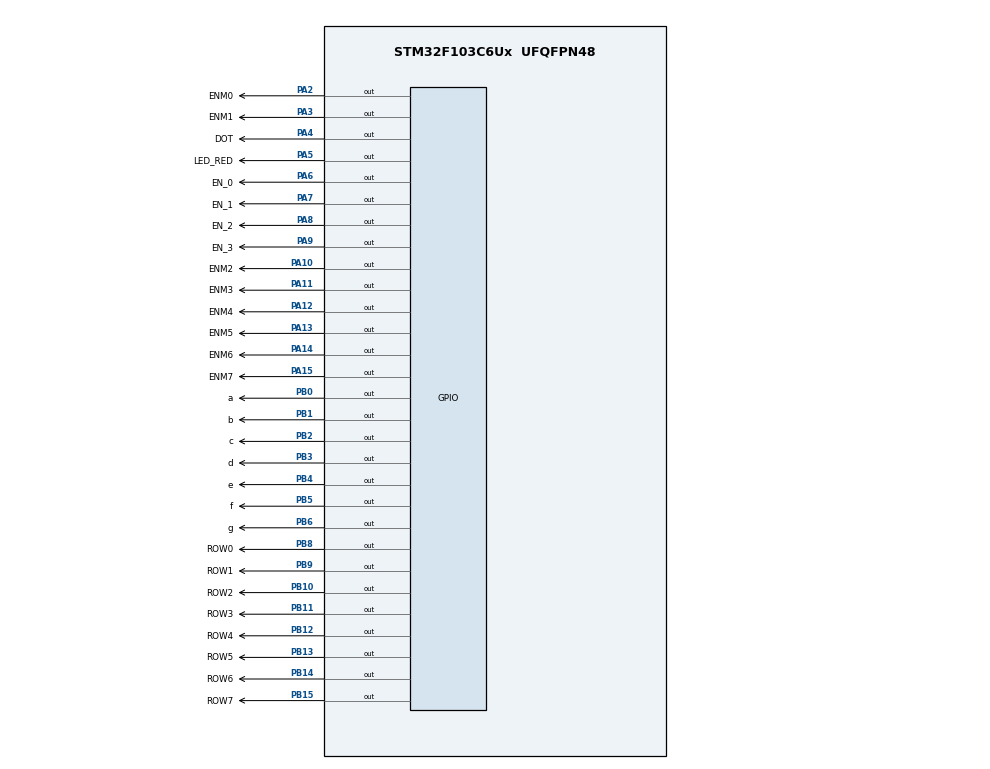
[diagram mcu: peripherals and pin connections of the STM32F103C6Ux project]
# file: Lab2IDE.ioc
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Mcu.Family=STM32F1
Mcu.Name=STM32F103C6Ux
Mcu.Package=UFQFPN48
NVIC.PriorityGroup=NVIC_PRIORITYGROUP_4
NVIC.TIM2_IRQn=true\:0\:0\:false\:false\:true\:true\:true
PA10.GPIO_Label=ENM2
PA10.Signal=GPIO_Output
PA11.GPIO_Label=ENM3
PA11.Signal=GPIO_Output
PA12.GPIO_Label=ENM4
PA12.Signal=GPIO_Output
PA13.GPIO_Label=ENM5
PA13.Signal=GPIO_Output
PA14.GPIO_Label=ENM6
PA14.Signal=GPIO_Output
PA15.GPIO_Label=ENM7
PA15.Signal=GPIO_Output
PA2.GPIO_Label=ENM0
PA2.Signal=GPIO_Output
PA3.GPIO_Label=ENM1
PA3.Signal=GPIO_Output
PA4.GPIO_Label=DOT
PA4.Signal=GPIO_Output
PA5.GPIO_Label=LED_RED
PA5.Signal=GPIO_Output
PA6.GPIO_Label=EN_0
PA6.Signal=GPIO_Output
PA7.GPIO_Label=EN_1
PA7.Signal=GPIO_Output
PA8.GPIO_Label=EN_2
PA8.Signal=GPIO_Output
PA9.GPIO_Label=EN_3
PA9.Signal=GPIO_Output
PB0.GPIO_Label=a
PB0.Signal=GPIO_Output
PB1.GPIO_Label=b
PB1.Signal=GPIO_Output
PB10.GPIO_Label=ROW2
PB10.Signal=GPIO_Output
PB11.GPIO_Label=ROW3
PB11.Signal=GPIO_Output
PB12.GPIO_Label=ROW4
PB12.Signal=GPIO_Output
PB13.GPIO_Label=ROW5
PB13.Signal=GPIO_Output
PB14.GPIO_Label=ROW6
PB14.Signal=GPIO_Output
PB15.GPIO_Label=ROW7
PB15.Signal=GPIO_Output
PB2.GPIO_Label=c
PB2.Signal=GPIO_Output
PB3.GPIO_Label=d
PB3.Signal=GPIO_Output
PB4.GPIO_Label=e
PB4.Signal=GPIO_Output
PB5.GPIO_Label=f
PB5.Signal=GPIO_Output
PB6.GPIO_Label=g
PB6.Signal=GPIO_Output
PB8.GPIO_Label=ROW0
PB8.Signal=GPIO_Output
PB9.GPIO_Label=ROW1
PB9.Signal=GPIO_Output
ProjectManager.HeapSize=0x200
ProjectManager.StackSize=0x400
ProjectManager.TargetToolchain=STM32CubeIDE
RCC.APB1Freq_Value=8000000
RCC.APB2Freq_Value=8000000
TIM2.Period=8
TIM2.Prescaler=8000
VP_SYS_VS_ND.Mode=No_Debug
VP_TIM2_VS_ClockSourceINT.Mode=Internal
board=custom

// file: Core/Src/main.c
/* USER CODE BEGIN Header */
/**
  ******************************************************************************
  * @file           : main.c
  * @brief          : Main program body
  ******************************************************************************
  * @attention
  *
  * <h2><center>&copy; Copyright (c) 2022 STMicroelectronics.
  * All rights reserved.</center></h2>
  *
  * This software component is licensed by ST under BSD 3-Clause license,
  * the "License"; You may not use this file except in compliance with the
  * License. You may obtain a copy of the License at:
  *                        opensource.org/licenses/BSD-3-Clause
  *
  ******************************************************************************
  */
/* USER CODE END Header */
#include "main.h"

/* USER CODE BEGIN Includes */
#include "softwareTimer.h"
/* USER CODE END Includes */

TIM_HandleTypeDef htim2;

void SystemClock_Config(void);
static void MX_GPIO_Init(void);
static void MX_TIM2_Init(void);

/* USER CODE BEGIN 0 */
void display7SEG(int num){
	if(num == 1){
		HAL_GPIO_WritePin(GPIOB, 0x06, GPIO_PIN_RESET);
		HAL_GPIO_WritePin(GPIOB, 0x79, GPIO_PIN_SET);
	}
	else if(num == 2){
		HAL_GPIO_WritePin(GPIOB, 0x5B, GPIO_PIN_RESET);
		HAL_GPIO_WritePin(GPIOB, 0x24, GPIO_PIN_SET);
	}
	else if(num == 3){
		HAL_GPIO_WritePin(GPIOB, 0x4F, GPIO_PIN_RESET);
		HAL_GPIO_WritePin(GPIOB, 0x30, GPIO_PIN_SET);
	}
	else if(num == 4){
		HAL_GPIO_WritePin(GPIOB, 0x66, GPIO_PIN_RESET);
		HAL_GPIO_WritePin(GPIOB, 0x19, GPIO_PIN_SET);
	}
	else if(num == 5){
		HAL_GPIO_WritePin(GPIOB, 0x6D, GPIO_PIN_RESET);
		HAL_GPIO_WritePin(GPIOB, 0x12, GPIO_PIN_SET);
	}
	else if(num == 6){
		HAL_GPIO_WritePin(GPIOB, 0x7D, GPIO_PIN_RESET);
		HAL_GPIO_WritePin(GPIOB, 0x02, GPIO_PIN_SET);
	}
	else if(num == 7){
		HAL_GPIO_WritePin(GPIOB, 0x07, GPIO_PIN_RESET);
		HAL_GPIO_WritePin(GPIOB, 0x78, GPIO_PIN_SET);
	}
	else if(num == 8){
		HAL_GPIO_WritePin(GPIOB, 0x7F, GPIO_PIN_RESET);
		HAL_GPIO_WritePin(GPIOB, 0x00, GPIO_PIN_SET);
	}
	else if(num == 9){
		HAL_GPIO_WritePin(GPIOB, 0x6F, GPIO_PIN_RESET);
		HAL_GPIO_WritePin(GPIOB, 0x10, GPIO_PIN_SET);
	}
	else{
		HAL_GPIO_WritePin(GPIOB, 0x3F, GPIO_PIN_RESET);
		HAL_GPIO_WritePin(GPIOB, 0x40, GPIO_PIN_SET);
	}

}

const int MAX_LED = 4;
int index_led = 0;
int led_buffer[4] = {1, 2, 3, 4};
void update7SEG(int index){
	switch (index){
		case 0:
			//Display the first 7SEG with led_buffer[0]
			HAL_GPIO_WritePin(EN_0_GPIO_Port, EN_0_Pin, GPIO_PIN_RESET);
			HAL_GPIO_WritePin(EN_1_GPIO_Port, EN_1_Pin, GPIO_PIN_SET);
			HAL_GPIO_WritePin(EN_2_GPIO_Port, EN_2_Pin, GPIO_PIN_SET);
			HAL_GPIO_WritePin(EN_3_GPIO_Port, EN_3_Pin, GPIO_PIN_SET);
			display7SEG(led_buffer[0]);
			break;
		case 1:
			//Display the second 7SEG with led_buffer[1]
			HAL_GPIO_WritePin(EN_0_GPIO_Port, EN_0_Pin, GPIO_PIN_SET);
			HAL_GPIO_WritePin(EN_1_GPIO_Port, EN_1_Pin, GPIO_PIN_RESET);
			HAL_GPIO_WritePin(EN_2_GPIO_Port, EN_2_Pin, GPIO_PIN_SET);
			HAL_GPIO_WritePin(EN_3_GPIO_Port, EN_3_Pin, GPIO_PIN_SET);
			display7SEG(led_buffer[1]);
			break;
		case 2:
			//Display the third 7SEG with led_buffer[2]
			HAL_GPIO_WritePin(EN_0_GPIO_Port, EN_0_Pin, GPIO_PIN_SET);
			HAL_GPIO_WritePin(EN_1_GPIO_Port, EN_1_Pin, GPIO_PIN_SET);
			HAL_GPIO_WritePin(EN_2_GPIO_Port, EN_2_Pin, GPIO_PIN_RESET);
			HAL_GPIO_WritePin(EN_3_GPIO_Port, EN_3_Pin, GPIO_PIN_SET);
			display7SEG(led_buffer[2]);
			break;
		case 3:
			//Display the fourth 7SEG with led_buffer[3]
			HAL_GPIO_WritePin(EN_0_GPIO_Port, EN_0_Pin, GPIO_PIN_SET);
			HAL_GPIO_WritePin(EN_1_GPIO_Port, EN_1_Pin, GPIO_PIN_SET);
			HAL_GPIO_WritePin(EN_2_GPIO_Port, EN_2_Pin, GPIO_PIN_SET);
			HAL_GPIO_WritePin(EN_3_GPIO_Port, EN_3_Pin, GPIO_PIN_RESET);
			display7SEG(led_buffer[3]);
			break;
		default:
			break;
	}
}

int hour = 15, minute = 8, second = 50;
void updateClockBuffer(){
	//set buffer hour
	led_buffer[0] = hour/10;
	led_buffer[1] = hour%10;
	//set buffer minute
	led_buffer[2] = minute/10;
	led_buffer[3] = minute%10;
}

const int MAX_LED_MATRIX = 8;
int index_led_matrix = 0;
uint16_t matrix_buffer1[8] = {0xF300 , 0xE100 , 0xC100 , 0x8300 , 0x8300 , 0xC100 , 0xE100, 0xF300};
uint16_t matrix_buffer2[8] = {0xF300 , 0xED00 , 0xDD00 , 0xBB00 , 0xBB00 , 0xDD00 , 0xED00, 0xF300};
int state = 0;
void updateLEDMatrix(int index){
	HAL_GPIO_WritePin(GPIOA, 0xFFFF, SET);
	HAL_GPIO_WritePin(GPIOB, 0xFFFF, RESET);

	switch(index){
	case 0: //Cot 0
		HAL_GPIO_WritePin(GPIOA, 0x04, RESET);
		HAL_GPIO_WritePin(GPIOA, 0xFC08, SET);

		if(state == 0) HAL_GPIO_WritePin(GPIOB, matrix_buffer1[0], SET);
		else HAL_GPIO_WritePin(GPIOB, matrix_buffer2[0], SET);
		break;
	case 1: //Cot 1
		HAL_GPIO_WritePin(GPIOA, 0x08, RESET);
		HAL_GPIO_WritePin(GPIOA, 0xFC04, SET);

		if(state == 0) HAL_GPIO_WritePin(GPIOB, matrix_buffer1[1], SET);
		else HAL_GPIO_WritePin(GPIOB, matrix_buffer2[1], SET);
		break;
	case 2: //Cot 2
		HAL_GPIO_WritePin(GPIOA, 0x400, RESET);
		HAL_GPIO_WritePin(GPIOA, 0xF80C, SET);

		if(state == 0) HAL_GPIO_WritePin(GPIOB, matrix_buffer1[2], SET);
		else HAL_GPIO_WritePin(GPIOB, matrix_buffer2[2], SET);
		break;
	case 3: //Cot 3
		HAL_GPIO_WritePin(GPIOA, 0x800, RESET);
		HAL_GPIO_WritePin(GPIOA, 0xF40C, SET);

		if(state == 0) HAL_GPIO_WritePin(GPIOB, matrix_buffer1[3], SET);
		else HAL_GPIO_WritePin(GPIOB, matrix_buffer2[3], SET);
		break;
	case 4: //Cot 4
		HAL_GPIO_WritePin(GPIOA, 0x1000, RESET);
		HAL_GPIO_WritePin(GPIOA, 0xEC0C, SET);

		if(state == 0) HAL_GPIO_WritePin(GPIOB,matrix_buffer1[4], SET);
		else HAL_GPIO_WritePin(GPIOB, matrix_buffer2[4], SET);
		break;
	case 5: //Cot 5
		HAL_GPIO_WritePin(GPIOA, 0x2000, RESET);
		HAL_GPIO_WritePin(GPIOA, 0xDC0C, SET);

		if(state == 0) HAL_GPIO_WritePin(GPIOB, matrix_buffer1[5], SET);
		else HAL_GPIO_WritePin(GPIOB, matrix_buffer2[5], SET);
		break;
	case 6: //Cot 6
		HAL_GPIO_WritePin(GPIOA, 0x4000, RESET);
		HAL_GPIO_WritePin(GPIOA, 0xBC0C, SET);

		if(state == 0) HAL_GPIO_WritePin(GPIOB, matrix_buffer1[6], SET);
		else HAL_GPIO_WritePin(GPIOB, matrix_buffer2[6], SET);
		break;
	case 7: //Cot 7
		HAL_GPIO_WritePin(GPIOA, 0x8000, RESET);
		HAL_GPIO_WritePin(GPIOA, 0x7C0C, SET);

		if(state == 0) HAL_GPIO_WritePin(GPIOB, matrix_buffer1[7], SET);
		else HAL_GPIO_WritePin(GPIOB, matrix_buffer2[7], SET);
		break;
	default:
		HAL_GPIO_WritePin(GPIOA, 0xFFFF, RESET);
		HAL_GPIO_WritePin(GPIOA, 0x0000, SET);

		break;
	}
}
/* USER CODE END 0 */

int main(void)
{

  /* MCU Configuration--------------------------------------------------------*/

  /* Reset of all peripherals, Initializes the Flash interface and the Systick. */
  HAL_Init();

  /* Configure the system clock */
  SystemClock_Config();

  /* Initialize all configured peripherals */
  MX_GPIO_Init();
  MX_TIM2_Init();
  /* USER CODE BEGIN 2 */
  HAL_TIM_Base_Start_IT(&htim2);
  /* USER CODE END 2 */

  /* Infinite loop */
  /* USER CODE BEGIN WHILE */
  setTimer1(1);
  setTimer2(100);
  while (1)
  {
	  /*
	  //Dieu chinh LED 7 doan
	  if(timer1_flag == 1){
		  setTimer1(10);

		  second ++;
		  if( second >= 60) {
			  second = 0;
			  minute ++;
		  }
		  if( minute >= 60) {
			  minute = 0;
			  hour ++;
		  }
		  if( hour >=24){
			  hour = 0;
		  }
		  updateClockBuffer ();

		  if(index_led >= MAX_LED) index_led = 0;
		  update7SEG(index_led++);
	  }
	  //Dieu chinh LED don
	  if(timer2_flag == 1){
		  setTimer2(100);
		  HAL_GPIO_TogglePin(DOT_GPIO_Port, DOT_Pin);
	  }
	  */
	  if(timer1_flag == 1){
		  if(index_led_matrix > 7) {
			  index_led_matrix = 0;
			  state = 1 - state;
		  }
		  updateLEDMatrix(index_led_matrix++);
		  setTimer1(1);
	  }

	  /* USER CODE END WHILE */

  }
}

void SystemClock_Config(void)
{
  RCC_OscInitTypeDef RCC_OscInitStruct = {0};
  RCC_ClkInitTypeDef RCC_ClkInitStruct = {0};

  /** Initializes the RCC Oscillators according to the specified parameters
  * in the RCC_OscInitTypeDef structure.
  */
  RCC_OscInitStruct.OscillatorType = RCC_OSCILLATORTYPE_HSI;
  RCC_OscInitStruct.HSIState = RCC_HSI_ON;
  RCC_OscInitStruct.HSICalibrationValue = RCC_HSICALIBRATION_DEFAULT;
  RCC_OscInitStruct.PLL.PLLState = RCC_PLL_NONE;
  if (HAL_RCC_OscConfig(&RCC_OscInitStruct) != HAL_OK)
  {
    Error_Handler();
  }
  /** Initializes the CPU, AHB and APB buses clocks
  */
  RCC_ClkInitStruct.ClockType = RCC_CLOCKTYPE_HCLK|RCC_CLOCKTYPE_SYSCLK
                              |RCC_CLOCKTYPE_PCLK1|RCC_CLOCKTYPE_PCLK2;
  RCC_ClkInitStruct.SYSCLKSource = RCC_SYSCLKSOURCE_HSI;
  RCC_ClkInitStruct.AHBCLKDivider = RCC_SYSCLK_DIV1;
  RCC_ClkInitStruct.APB1CLKDivider = RCC_HCLK_DIV1;
  RCC_ClkInitStruct.APB2CLKDivider = RCC_HCLK_DIV1;

  if (HAL_RCC_ClockConfig(&RCC_ClkInitStruct, FLASH_LATENCY_0) != HAL_OK)
  {
    Error_Handler();
  }
}

static void MX_TIM2_Init(void)
{

  TIM_ClockConfigTypeDef sClockSourceConfig = {0};
  TIM_MasterConfigTypeDef sMasterConfig = {0};

  htim2.Instance = TIM2;
  htim2.Init.Prescaler = 8000;
  htim2.Init.CounterMode = TIM_COUNTERMODE_UP;
  htim2.Init.Period = 10;
  htim2.Init.ClockDivision = TIM_CLOCKDIVISION_DIV1;
  htim2.Init.AutoReloadPreload = TIM_AUTORELOAD_PRELOAD_DISABLE;
  if (HAL_TIM_Base_Init(&htim2) != HAL_OK)
  {
    Error_Handler();
  }
  sClockSourceConfig.ClockSource = TIM_CLOCKSOURCE_INTERNAL;
  if (HAL_TIM_ConfigClockSource(&htim2, &sClockSourceConfig) != HAL_OK)
  {
    Error_Handler();
  }
  sMasterConfig.MasterOutputTrigger = TIM_TRGO_RESET;
  sMasterConfig.MasterSlaveMode = TIM_MASTERSLAVEMODE_DISABLE;
  if (HAL_TIMEx_MasterConfigSynchronization(&htim2, &sMasterConfig) != HAL_OK)
  {
    Error_Handler();
  }

}

static void MX_GPIO_Init(void)
{
  GPIO_InitTypeDef GPIO_InitStruct = {0};

  /* GPIO Ports Clock Enable */
  __HAL_RCC_GPIOA_CLK_ENABLE();
  __HAL_RCC_GPIOB_CLK_ENABLE();

  /*Configure GPIO pin Output Level */
  HAL_GPIO_WritePin(GPIOA, ENM0_Pin|ENM1_Pin|DOT_Pin|LED_RED_Pin
                          |EN_0_Pin|EN_1_Pin|EN_2_Pin|EN_3_Pin
                          |ENM2_Pin|ENM3_Pin|ENM4_Pin|ENM5_Pin
                          |ENM6_Pin|ENM7_Pin, GPIO_PIN_RESET);

  /*Configure GPIO pin Output Level */
  HAL_GPIO_WritePin(GPIOB, a_Pin|b_Pin|c_Pin|ROW2_Pin
                          |ROW3_Pin|ROW4_Pin|ROW5_Pin|ROW6_Pin
                          |ROW7_Pin|d_Pin|e_Pin|f_Pin
                          |g_Pin|ROW0_Pin|ROW1_Pin, GPIO_PIN_RESET);

  /*Configure GPIO pins : ENM0_Pin ENM1_Pin DOT_Pin LED_RED_Pin
                           EN_0_Pin EN_1_Pin EN_2_Pin EN_3_Pin
                           ENM2_Pin ENM3_Pin ENM4_Pin ENM5_Pin
                           ENM6_Pin ENM7_Pin */
  GPIO_InitStruct.Pin = ENM0_Pin|ENM1_Pin|DOT_Pin|LED_RED_Pin
                          |EN_0_Pin|EN_1_Pin|EN_2_Pin|EN_3_Pin
                          |ENM2_Pin|ENM3_Pin|ENM4_Pin|ENM5_Pin
                          |ENM6_Pin|ENM7_Pin;
  GPIO_InitStruct.Mode = GPIO_MODE_OUTPUT_PP;
  GPIO_InitStruct.Pull = GPIO_NOPULL;
  GPIO_InitStruct.Speed = GPIO_SPEED_FREQ_LOW;
  HAL_GPIO_Init(GPIOA, &GPIO_InitStruct);

  /*Configure GPIO pins : a_Pin b_Pin c_Pin ROW2_Pin
                           ROW3_Pin ROW4_Pin ROW5_Pin ROW6_Pin
                           ROW7_Pin d_Pin e_Pin f_Pin
                           g_Pin ROW0_Pin ROW1_Pin */
  GPIO_InitStruct.Pin = a_Pin|b_Pin|c_Pin|ROW2_Pin
                          |ROW3_Pin|ROW4_Pin|ROW5_Pin|ROW6_Pin
                          |ROW7_Pin|d_Pin|e_Pin|f_Pin
                          |g_Pin|ROW0_Pin|ROW1_Pin;
  GPIO_InitStruct.Mode = GPIO_MODE_OUTPUT_PP;
  GPIO_InitStruct.Pull = GPIO_NOPULL;
  GPIO_InitStruct.Speed = GPIO_SPEED_FREQ_LOW;
  HAL_GPIO_Init(GPIOB, &GPIO_InitStruct);

}

/* USER CODE BEGIN 4 */
void HAL_TIM_PeriodElapsedCallback( TIM_HandleTypeDef * htim ){
	timerRun();
}
/* USER CODE END 4 */

void Error_Handler(void)
{
  __disable_irq();
  while (1)
  {
  }
}

/************************ (C) COPYRIGHT STMicroelectronics *****END OF FILE****/
